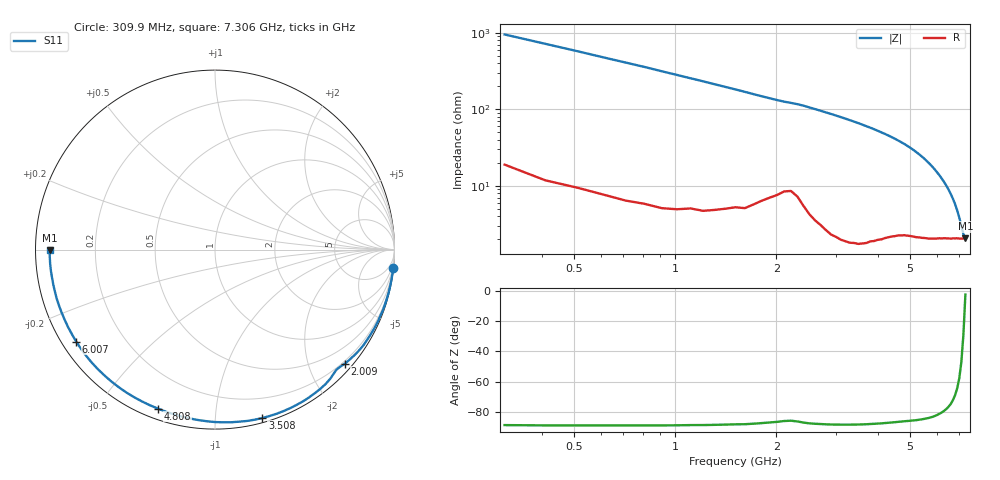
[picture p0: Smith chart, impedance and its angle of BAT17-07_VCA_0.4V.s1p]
! Infineon Technologies  Discrete & RF Semiconductors
! BAT17-07
! VCA = 0.4 V
! One-Port S-Parameters
# Hz  S  MA  R  50
!f  S11
!Hz  Mag  Ang
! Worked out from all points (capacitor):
!   71 points, 309.9 MHz to 7.306 GHz, reference 50 ohm
!   read as one part to ground: C = 539 fF near 309.9 MHz
!   lowest |Z| = 2.06 ohm at 7.306 GHz (marker M1)
!   S11 on the Smith chart (normalised r, x): 309.9 MHz: 0, -19; 2.009 GHz: 0.15, -2.64; 3.508 GHz: 0.03, -1.32; 4.808 GHz: 0.05, -0.70; 6.007 GHz: 0.04, -0.30; 7.306 GHz: 0.04, -0.00
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3.0985e8  0.9979 -6.0
8.096e8  0.9956 -15.9
1.2094e9  0.9917 -24.2
1.6092e9  0.9838 -32.8
1.8091e9  0.9742 -37.2
2.009e9  0.9628 -41.3
2.10895e9  0.9551 -43.2
2.30885e9  0.9563 -46.2
2.50875e9  0.9697 -50.5
2.8086e9  0.976 -57.4
3.0085e9  0.9774 -62.1
3.30835e9  0.9769 -69.3
3.50825e9  0.975 -74.3
3.8081e9  0.9682 -82.0
4.008e9  0.9632 -87.2
4.2079e9  0.9575 -92.6
4.50775e9  0.949 -100.9
4.70765e9  0.9438 -106.7
4.8076e9  0.9413 -109.7
5.0075e9  0.9387 -115.7
5.2074e9  0.9369 -121.9
5.6072e9  0.9324 -134.4
5.8071e9  0.9304 -140.5
6.007e9  0.9277 -146.5
6.2069e9  0.9256 -152.2
6.50675e9  0.9233 -160.2
6.90655e9  0.9214 -170.1
7.30635e9  0.9207 -179.8
